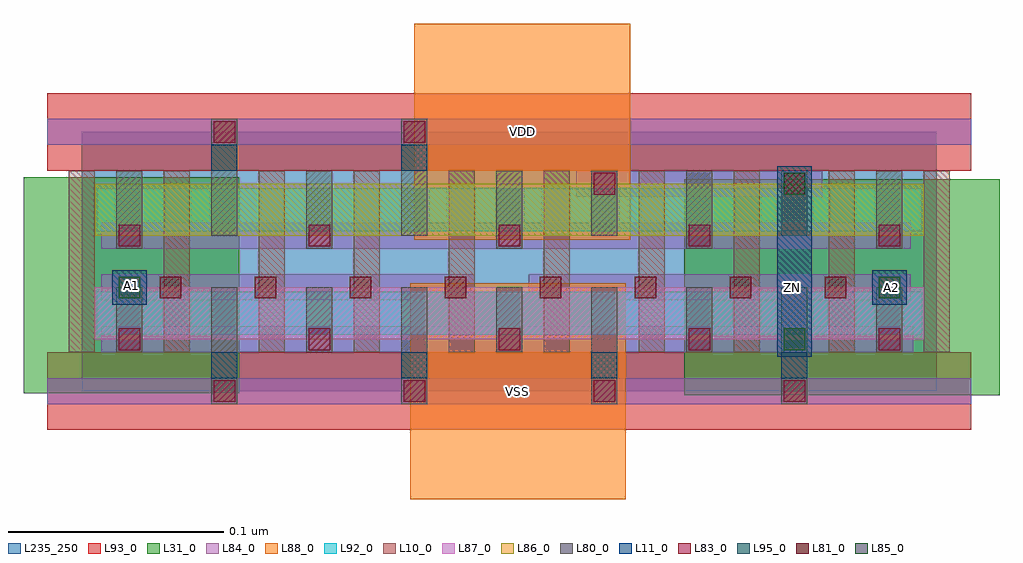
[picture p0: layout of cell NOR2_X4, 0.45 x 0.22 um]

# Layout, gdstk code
import gdstk
lib = gdstk.Library(unit=1e-6, precision=1e-09)
def R(c, l, rs):  # rectangles x0, y0, x1, y1
    for r in rs: c.add(gdstk.rectangle(r[:2], r[2:], *l))
def A(c, l, x, y, w, h, nx, ny, dx, dy):  # array of equal rectangles
    R(c, l, [(x+i*dx, y+j*dy, x+i*dx+w, y+j*dy+h) for i in range(nx) for j in range(ny)])
L10_0 = (10, 0)
L11_0 = (11, 0)
L31_0 = (31, 0)
L80_0 = (80, 0)
L81_0 = (81, 0)
L83_0 = (83, 0)
L84_0 = (84, 0)
L85_0 = (85, 0)
L86_0 = (86, 0)
L87_0 = (87, 0)
L88_0 = (88, 0)
L92_0 = (92, 0)
L93_0 = (93, 0)
L95_0 = (95, 0)
L235_250 = (235, 250)

nor2_x4 = lib.new_cell('NOR2_X4')
A(nor2_x4, L10_0, -0.006, 0.018, 0.012, 0.084, 10, 1, 0.044, 0)
R(nor2_x4, L11_0, [(0.322,0.016,0.338,0.104), (0.014,0.04,0.03,0.056), (0.366,0.04,0.382,0.056)])
R(nor2_x4, L31_0, [(0.279,-0.002,0.379,0.098), (0.325,-0.002,0.425,0.098), (-0.027,-0.001,0.073,0.099)])
A(nor2_x4, L80_0, 0.06, -0.006, 0.012, 0.054, 4, 1, 0.088, 0)
A(nor2_x4, L80_0, 0.016, 0.018, 0.012, 0.03, 5, 1, 0.088, 0)
A(nor2_x4, L80_0, 0.016, 0.066, 0.012, 0.036, 5, 1, 0.088, 0)
R(nor2_x4, L80_0, [(0.06,0.072,0.072,0.126), (0.148,0.072,0.16,0.126), (0.236,0.072,0.248,0.102), (0.324,0.072,0.336,0.102)])
A(nor2_x4, L81_0, 0.036, 0.043, 0.01, 0.01, 8, 1, 0.044, 0)
A(nor2_x4, L83_0, 0.061, -0.005, 0.01, 0.01, 4, 1, 0.088, 0)
A(nor2_x4, L83_0, 0.017, 0.019, 0.01, 0.01, 5, 2, 0.088, 0.048)
R(nor2_x4, L83_0, [(0.237,0.091,0.247,0.101), (0.325,0.091,0.335,0.101), (0.061,0.115,0.071,0.125), (0.149,0.115,0.159,0.125)])
R(nor2_x4, L84_0, [(-0.016,-0.006,0.412,0.006), (0.009,0.018,0.385,0.03), (0.009,0.042,0.182,0.054), (0.207,0.042,0.384,0.054), (0.009,0.066,0.384,0.078), (0.229,0.09,0.343,0.102), (-0.016,0.114,0.412,0.126)])
R(nor2_x4, L85_0, [(0.325,0.019,0.335,0.029), (0.017,0.043,0.027,0.053), (0.369,0.043,0.379,0.053), (0.325,0.091,0.335,0.101)])
R(nor2_x4, L86_0, [(0.006,0.072,0.39,0.096)])
R(nor2_x4, L87_0, [(0.006,0.024,0.39,0.048)])
R(nor2_x4, L88_0, [(0.152,-0.05,0.252,0.05), (0.154,0.07,0.254,0.17)])
R(nor2_x4, L92_0, [(0.007,0.026,0.389,0.046), (0.007,0.074,0.389,0.094)])
R(nor2_x4, L93_0, [(-0.016,-0.018,0.412,0.018), (-0.016,0.102,0.412,0.138)])
A(nor2_x4, L95_0, 0.06, 0.006, 0.012, 0.012, 4, 1, 0.088, 0)
R(nor2_x4, L95_0, [(0.06,0.102,0.072,0.114), (0.148,0.102,0.16,0.114)])
R(nor2_x4, L235_250, [(0,0,0.396,0.12)])
nor2_x4.add(gdstk.Label('VDD', (0.204,0.12), layer=88, texttype=0))
nor2_x4.add(gdstk.Label('VSS', (0.202,0), layer=88, texttype=0))
nor2_x4.add(gdstk.Label('ZN', (0.329,0.048), layer=31, texttype=0))
nor2_x4.add(gdstk.Label('A2', (0.375,0.048), layer=31, texttype=0))
nor2_x4.add(gdstk.Label('A1', (0.023,0.049), layer=31, texttype=0))

lib.write_gds('NOR2_X4.gds')
